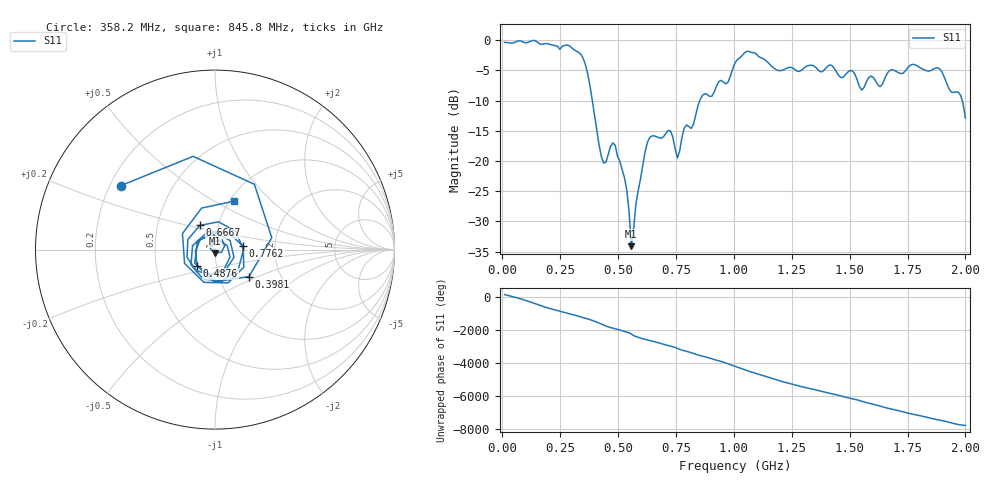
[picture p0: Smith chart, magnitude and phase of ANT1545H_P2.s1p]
!Created with skrf (http://scikit-rf.org).
# Hz S RI R 50.0
!freq ReS11 ImS11
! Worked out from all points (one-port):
!   201 points, 10 MHz to 2 GHz, reference 50 ohm
!   lowest |S11| = -34.1 dB at 557.2 MHz (marker M1), VSWR 1.04, Z = 49.7 - j1.95 ohm
!   |S11| at or under -10 dB: 388.8 MHz to 852.9 MHz (464 MHz wide, 74.7 % of centre); 1.986 GHz to end of sweep
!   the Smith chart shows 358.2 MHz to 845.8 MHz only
!   S11 on the Smith chart (normalised r, x): 358.2 MHz: 0.24, +0.29; 398.1 MHz: 1.39, -0.44; 487.6 MHz: 0.81, -0.15; 666.7 MHz: 0.82, +0.23; 776.1 MHz: 1.37, +0.05; 845.8 MHz: 1.05, +0.62
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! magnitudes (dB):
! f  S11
! 10 MHz  -0.4
! 258.8 MHz  -1.0
! 358.2 MHz  -4.0
! 398.1 MHz  -12.3
! 437.9 MHz  -20.3
! 487.6 MHz  -17.4
! 507.5 MHz  -20.0
! 537.4 MHz  -24.7
! 557.2 MHz  -34.1
! 577.1 MHz  -27.1
! 617 MHz  -18.4
! 666.7 MHz  -16.0
! 726.4 MHz  -15.0
! 756.2 MHz  -19.5
! 776.1 MHz  -16.0
! 825.9 MHz  -13.9
! 845.8 MHz  -10.8
! 975.1 MHz  -6.9
! 1.005 GHz  -3.8
! 1.065 GHz  -1.8
! 1.254 GHz  -4.6
! 1.502 GHz  -5.0
! 1.552 GHz  -8.3
! 1.592 GHz  -5.9
! 1.751 GHz  -4.6
! 1.891 GHz  -4.8
! 1.98 GHz  -9.2
! 2 GHz  -12.9
